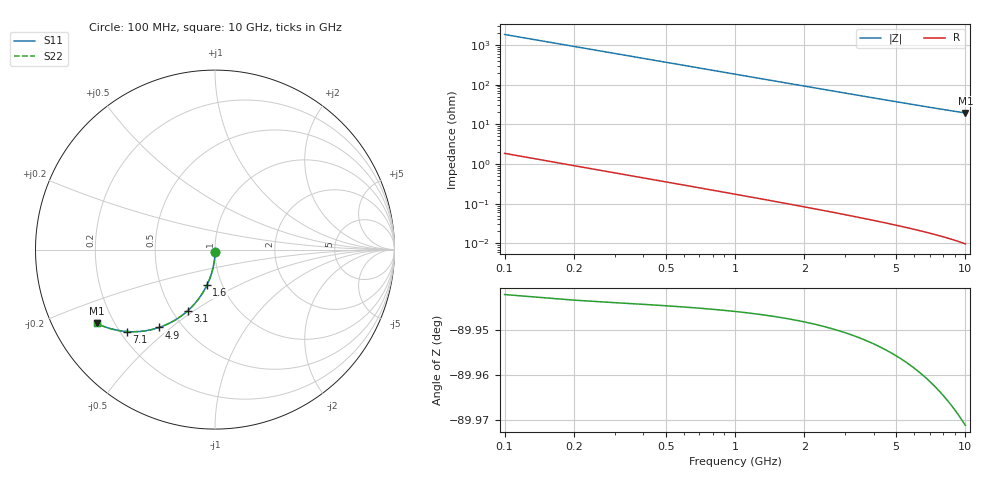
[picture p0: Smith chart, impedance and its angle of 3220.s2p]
# Hz S RI R 50.00
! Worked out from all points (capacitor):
!   100 points, 100 MHz to 10 GHz, reference 50 ohm
!   read as one part in shunt: C = 869 fF near 100 MHz
!   lowest |Z| = 19.3 ohm at 10 GHz (marker M1)
!   S11 on the Smith chart (normalised r, x): 100 MHz: 1.00, -0.03; 1.6 GHz: 0.85, -0.35; 3.1 GHz: 0.60, -0.47; 4.9 GHz: 0.38, -0.45; 7.1 GHz: 0.23, -0.38; 10 GHz: 0.14, -0.28
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1e8  0.000182 -0.013  0.9994 -0.0142  0.9994 -0.0142  0.000182 -0.013
2e8  -0.000386 -0.0261  0.9988 -0.0285  0.9988 -0.0285  -0.000386 -0.0261
3e8  -0.00132 -0.0391  0.9979 -0.0427  0.9979 -0.0427  -0.00132 -0.0391
4e8  -0.00263 -0.052  0.9966 -0.0568  0.9966 -0.0568  -0.00263 -0.052
5e8  -0.0043 -0.0649  0.9949 -0.0709  0.9949 -0.0709  -0.0043 -0.0649
6e8  -0.00634 -0.0778  0.9929 -0.0849  0.9929 -0.0849  -0.00634 -0.0778
7e8  -0.00873 -0.0905  0.9905 -0.0988  0.9905 -0.0988  -0.00873 -0.0905
9e8  -0.0146 -0.1156  0.9846 -0.1263  0.9846 -0.1263  -0.0146 -0.1156
1.2e9  -0.0258 -0.1524  0.9733 -0.1666  0.9733 -0.1666  -0.0258 -0.1524
1.6e9  -0.0453 -0.199  0.9537 -0.218  0.9537 -0.218  -0.0453 -0.199
1.8e9  -0.0567 -0.2211  0.9423 -0.2425  0.9423 -0.2425  -0.0567 -0.2211
2.4e9  -0.0968 -0.2818  0.9019 -0.3104  0.9019 -0.3104  -0.0968 -0.2818
3.1e9  -0.1521 -0.3409  0.8464 -0.3778  0.8464 -0.3778  -0.1521 -0.3409
3.4e9  -0.1777 -0.3621  0.8207 -0.4027  0.8207 -0.4027  -0.1777 -0.3621
4.1e9  -0.2396 -0.4024  0.7584 -0.4514  0.7584 -0.4514  -0.2396 -0.4024
4.9e9  -0.3111 -0.4336  0.6863 -0.4923  0.6863 -0.4923  -0.3111 -0.4336
5.1e9  -0.3288 -0.4392  0.6685 -0.5003  0.6685 -0.5003  -0.3288 -0.4392
5.9e9  -0.3969 -0.4536  0.5997 -0.5245  0.5997 -0.5245  -0.3969 -0.4536
6.7e9  -0.4603 -0.4577  0.5356 -0.5384  0.5356 -0.5384  -0.4603 -0.4577
7.1e9  -0.4898 -0.4565  0.5057 -0.5422  0.5057 -0.5422  -0.4898 -0.4565
8.4e9  -0.5754 -0.4422  0.4185 -0.5442  0.4185 -0.5442  -0.5754 -0.4422
1e10  -0.66 -0.4104  0.3315 -0.5328  0.3315 -0.5328  -0.66 -0.4104
